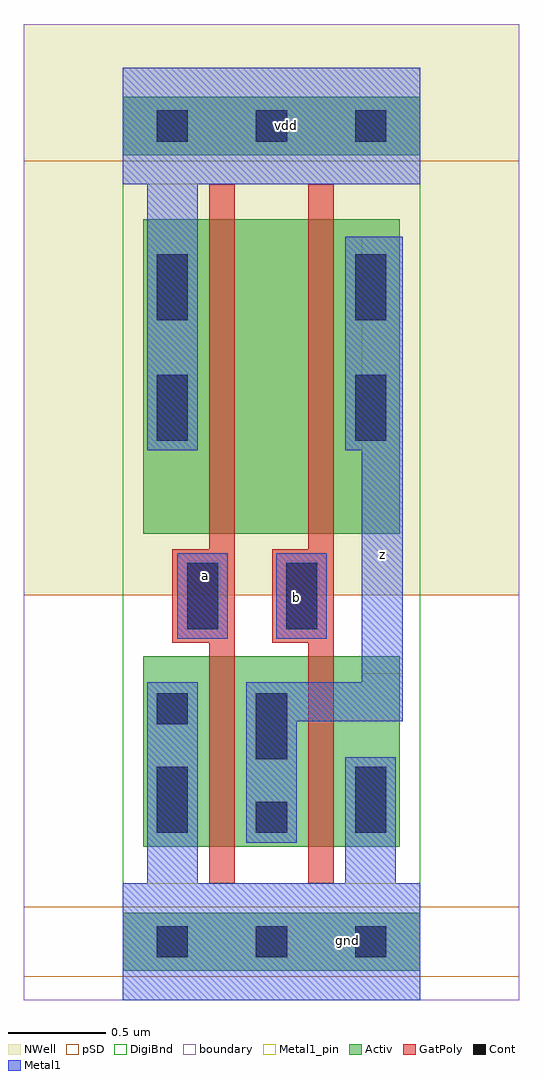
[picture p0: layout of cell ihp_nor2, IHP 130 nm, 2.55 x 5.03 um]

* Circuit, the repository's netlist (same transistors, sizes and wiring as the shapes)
* ------------------------------------------------------
*
*		Copyright 2025 IHP PDK Authors
*
*		Licensed under the Apache License, Version 2.0 (the "License");
*		you may not use this file except in compliance with the License.
*		You may obtain a copy of the License at
*
*		   https://www.apache.org/licenses/LICENSE-2.0
*
*		Unless required by applicable law or agreed to in writing, software
*		distributed under the License is distributed on an "AS IS" BASIS,
*		WITHOUT WARRANTIES OR CONDITIONS OF ANY KIND, either express or implied.
*		See the License for the specific language governing permissions and
*		limitations under the License.
*
*		Generated on Thu Jul 30 11:38:32 2026
*
* ------------------------------------------------------
* Flattened from RSC_IHPSG13_NOR2X2; unchanged W/L/m.
.subckt ihp_nor2 a b z vdd gnd
Xinternal_MP1 z b internal_net9 vdd sg13_lv_pmos w=1.62u l=130.00n m=1
Xinternal_MP0 internal_net9 a vdd vdd sg13_lv_pmos w=1.62u l=130.00n m=1
Xinternal_MN0 z b gnd gnd sg13_lv_nmos w=980.00n l=130.00n m=1
Xinternal_MN1 z a gnd gnd sg13_lv_nmos w=980.00n l=130.00n m=1
.ends ihp_nor2

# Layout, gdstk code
import gdstk
lib = gdstk.Library(unit=1e-6, precision=1e-09)
def R(c, l, rs):  # rectangles x0, y0, x1, y1
    for r in rs: c.add(gdstk.rectangle(r[:2], r[2:], *l))
def A(c, l, x, y, w, h, nx, ny, dx, dy):  # array of equal rectangles
    R(c, l, [(x+i*dx, y+j*dy, x+i*dx+w, y+j*dy+h) for i in range(nx) for j in range(ny)])
def P(c, l, *ps):  # polygons
    for p in ps: c.add(gdstk.Polygon(p, *l))
Activ = (1, 0)
GatPoly = (5, 0)
Cont = (6, 0)
Metal1 = (8, 0)
Metal1_pin = (8, 2)
pSD = (14, 0)
DigiBnd = (16, 0)
NWell = (31, 0)
boundary = (189, 4)

ihp_nor2 = lib.new_cell('ihp_nor2')
R(ihp_nor2, Activ, [(0.51,0.15,2.04,0.45), (0.615,0.79,1.935,1.77), (0.615,2.4,1.935,4.02), (0.51,4.35,2.04,4.65)])
P(ihp_nor2, GatPoly, [(0.955,0.6),(0.955,1.84),(0.765,1.84),(0.765,2.32),(0.955,2.32),(0.955,4.2),(1.085,4.2),(1.085,0.6)],
  [(1.465,0.6),(1.465,1.84),(1.28,1.84),(1.28,2.32),(1.465,2.32),(1.465,4.2),(1.595,4.2),(1.595,0.6)])
A(ihp_nor2, Cont, 0.685, 0.22, 0.16, 0.16, 3, 2, 0.51, 4.2)
R(ihp_nor2, Cont, [(0.685,0.86,0.845,1.2), (1.195,0.86,1.355,1.02), (1.705,0.86,1.865,1.2), (1.195,1.24,1.355,1.58), (0.685,1.42,0.845,1.58), (0.84,1.91,1,2.25), (1.35,1.91,1.51,2.25), (0.685,2.88,0.845,3.22), (1.705,2.88,1.865,3.22), (0.685,3.5,0.845,3.84), (1.705,3.5,1.865,3.84)])
R(ihp_nor2, Metal1, [(0.51,0,2.04,0.6), (0.635,0.6,0.895,1.635), (1.655,0.6,1.915,1.25), (1.145,0.81,1.405,1.435), (1.145,1.435,1.95,1.635), (1.74,1.635,1.95,2.83), (0.79,1.86,1.05,2.3), (1.3,1.86,1.56,2.3), (0.635,2.83,0.895,4.2), (1.655,2.83,1.95,3.93), (0.51,4.2,2.04,4.8)])
R(ihp_nor2, Metal1_pin, [(0.51,0,2.04,0.6), (1.74,1.68,1.95,3.93), (0.79,1.86,1.05,2.3), (1.3,1.86,1.56,2.3), (0.51,4.2,2.04,4.8)])
R(ihp_nor2, pSD, [(0,0.12,2.55,0.48), (0,2.085,2.55,4.32)])
R(ihp_nor2, DigiBnd, [(0.51,0,2.04,4.8)])
R(ihp_nor2, NWell, [(0,2.085,2.55,5.025)])
R(ihp_nor2, boundary, [(0,0,2.55,5.025)])
ihp_nor2.add(gdstk.Label('gnd', (1.665,0.305), layer=8, texttype=25))
ihp_nor2.add(gdstk.Label('vdd', (1.35,4.5), layer=8, texttype=25))
ihp_nor2.add(gdstk.Label('z', (1.845,2.295), layer=8, texttype=25))
ihp_nor2.add(gdstk.Label('b', (1.405,2.07), layer=8, texttype=25))
ihp_nor2.add(gdstk.Label('a', (0.935,2.185), layer=8, texttype=25))

lib.write_gds('ihp_nor2.gds')
